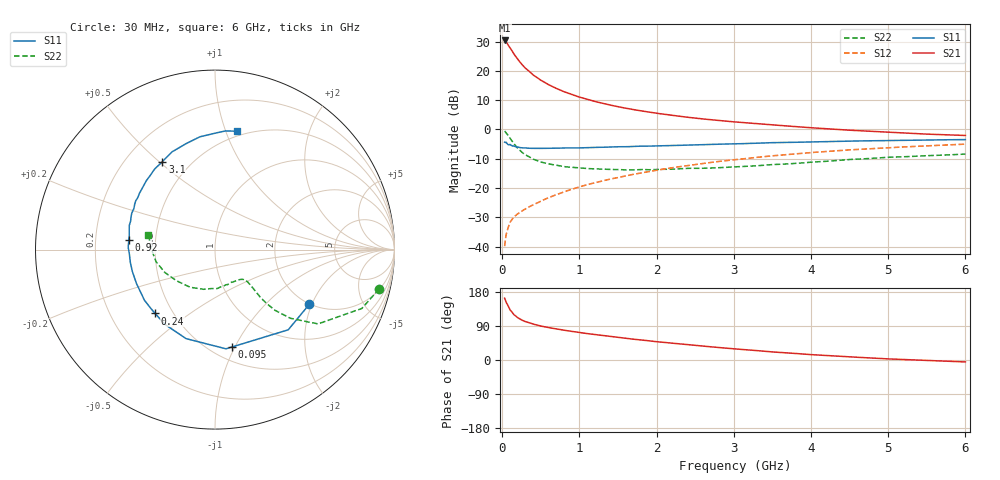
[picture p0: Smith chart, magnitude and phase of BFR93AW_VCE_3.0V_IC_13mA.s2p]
! Infineon Technologies  Discrete & RF Semiconductors
! BFR93AW
! VCE =  3.0 V,  IC =  13 mA
! Common Emitter S-Parameters:  Nov 2015
# GHz  S  MA  R  50
!  f  S11  S21  S12  S22
! GHz  MAG  ANG  MAG  ANG  MAG  ANG  MAG  ANG
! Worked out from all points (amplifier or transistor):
!   206 points, 30 MHz to 6 GHz, reference 50 ohm
!   highest |S21| = 30.4 dB at 30 MHz (marker M1)
!   |S21| within 3 dB of that: start of sweep to 113 MHz
!   unconditionally stable (mu >= 1): 657.4 MHz to 2.275 GHz
!   at 200 MHz: K = 0.58, MSG = 26.3 dB, |S12| = -28.8 dB
!   at 1.56 GHz: K = 1.06, MAG = 10.3 dB, |S12| = -16.0 dB
!   at 6 GHz: K = 0.92, MSG = 1.5 dB, |S12| = -5.0 dB
!   S11 on the Smith chart (normalised r, x): 30 MHz: 1.99, -1.92; 95 MHz: 0.63, -0.98; 240 MHz: 0.40, -0.37; 920 MHz: 0.35, +0.05; 3.1 GHz: 0.35, +0.51; 6 GHz: 0.46, +1.10
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0.03  0.6077 -30.0  32.95 163.0  0.0102 76.6  0.9404 -13.5
0.05  0.6051 -47.6  31.2 151.9  0.0161 71.5  0.8809 -21.9
0.095  0.5505 -80.0  25.31 134.6  0.025 60.5  0.723 -34.1
0.1  0.5561 -83.7  24.84 132.2  0.026 59.7  0.7079 -35.8
0.15  0.5215 -108.0  19.37 119.7  0.0321 54.8  0.5685 -42.3
0.2  0.5015 -123.7  15.66 111.5  0.0363 54.5  0.4765 -45.3
0.24  0.4877 -133.2  13.51 107.0  0.0393 54.5  0.4242 -46.1
0.26  0.485 -137.3  12.6 104.8  0.0409 54.9  0.4026 -46.3
0.3  0.4839 -144.3  11.08 101.2  0.0442 56.3  0.3687 -46.5
0.4  0.4766 -156.7  8.493 94.6  0.0517 58.4  0.3117 -45.6
0.5  0.4763 -165.3  6.899 89.5  0.0599 61.1  0.2776 -45.0
0.6  0.4771 -171.3  5.794 85.4  0.0685 62.7  0.2582 -44.6
0.7  0.4776 -176.9  5.012 81.8  0.0771 64.0  0.2448 -45.1
0.92  0.4835 173.6  3.86 74.9  0.0971 66.2  0.2253 -47.3
1.04  0.4862 169.3  3.436 71.4  0.1085 66.4  0.2184 -49.6
1.2  0.4962 164.2  2.996 67.1  0.1232 66.5  0.2125 -53.1
1.5  0.5063 156.3  2.437 59.7  0.1515 66.2  0.2071 -60.9
2.02  0.5252 143.2  1.872 47.9  0.2032 63.7  0.2084 -76.7
3.1  0.5714 120.8  1.315 28.0  0.3134 55.1  0.2324 -109.6
4.1  0.6159 103.6  1.048 13.1  0.4116 44.6  0.2808 -144.2
5.1  0.649 89.8  0.883 2.1  0.4955 33.4  0.3381 -171.1
6  0.6711 79.3  0.789 -5.1  0.5611 23.6  0.3797 167.4
